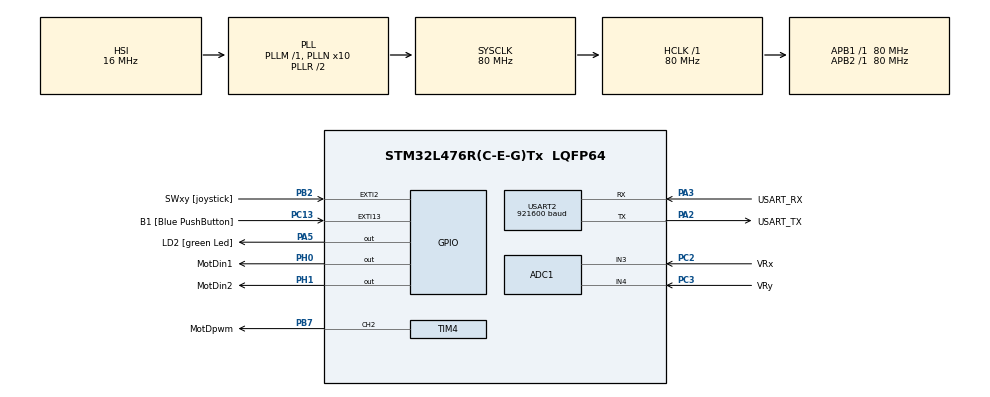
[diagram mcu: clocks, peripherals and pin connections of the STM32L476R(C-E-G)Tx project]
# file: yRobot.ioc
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ADC1.Channel-0\#ChannelRegularConversion=ADC_CHANNEL_3
ADC1.Channel-1\#ChannelRegularConversion=ADC_CHANNEL_4
ADC1.ContinuousConvMode=DISABLE
ADC1.DMAContinuousRequests=ENABLE
ADC1.DiscontinuousConvMode=ENABLE
ADC1.EOCSelection=ADC_EOC_SEQ_CONV
ADC1.EnableAnalogWatchDog1=false
ADC1.EnableInjectedConversion=DISABLE
ADC1.ExternalTrigConv=ADC_EXTERNALTRIG_T1_TRGO
ADC1.NbrOfConversion=2
ADC1.NbrOfConversionFlag=1
ADC1.OffsetNumber-0\#ChannelRegularConversion=ADC_OFFSET_NONE
ADC1.OffsetNumber-1\#ChannelRegularConversion=ADC_OFFSET_NONE
ADC1.Overrun=ADC_OVR_DATA_PRESERVED
ADC1.Rank-0\#ChannelRegularConversion=1
ADC1.Rank-1\#ChannelRegularConversion=2
ADC1.SamplingTime-0\#ChannelRegularConversion=ADC_SAMPLETIME_6CYCLES_5
ADC1.SamplingTime-1\#ChannelRegularConversion=ADC_SAMPLETIME_6CYCLES_5
ADC1.master=1
Dma.ADC1.0.Direction=DMA_PERIPH_TO_MEMORY
Dma.ADC1.0.Instance=DMA1_Channel1
Dma.ADC1.0.MemDataAlignment=DMA_MDATAALIGN_WORD
Dma.ADC1.0.MemInc=DMA_MINC_ENABLE
Dma.ADC1.0.Mode=DMA_CIRCULAR
Dma.ADC1.0.PeriphDataAlignment=DMA_PDATAALIGN_WORD
Dma.ADC1.0.PeriphInc=DMA_PINC_DISABLE
Dma.ADC1.0.Priority=DMA_PRIORITY_MEDIUM
Dma.Request0=ADC1
FREERTOS.BinarySemaphores01=semUART,Dynamic,NULL
FREERTOS.INCLUDE_pcTaskGetTaskName=1
FREERTOS.INCLUDE_vTaskCleanUpResources=1
FREERTOS.INCLUDE_vTaskDelete=1
FREERTOS.INCLUDE_xQueueGetMutexHolder=1
FREERTOS.INCLUDE_xTaskGetCurrentTaskHandle=1
FREERTOS.INCLUDE_xTaskGetHandle=1
FREERTOS.Queues01=qEvents,8,yEvent_t,0,Dynamic,NULL,NULL;qVTaffiche,10,yVTbuff_t,0,Dynamic,NULL,NULL;qMotD,8,yEvent_t,0,Dynamic,NULL,NULL;qTrain,8,yEvent_t,0,Dynamic,NULL,NULL;qMotG,8,yEvent_t,0,Dynamic,NULL,NULL
FREERTOS.Tasks01=defaultTask,24,1024,StartDefaultTask,Default,NULL,Dynamic,NULL,NULL;tk_Init,24,1024,tk_Init_Fnc,Default,NULL,Dynamic,NULL,NULL;tk_CheckVR,24,1024,tk_CheckVR_Fnc,Default,NULL,Dynamic,NULL,NULL;tk_Process,24,1024,tk_Process_Fnc,As external,NULL,Dynamic,NULL,NULL;tk_VTaffiche,24,1024,tk_VTaffiche_Fnc,As external,NULL,Dynamic,NULL,NULL;tk_MoteurD,24,1024,tk_MoteurD_Fnc,As external,NULL,Dynamic,NULL,NULL;tk_Train,24,1024,tk_Train_Fnc,As external,NULL,Dynamic,NULL,NULL;tk_MoteurG,24,1024,tk_MoteurG_Fnc,As external,NULL,Dynamic,NULL,NULL
FREERTOS.Timers01=t1s,t1s_Callback,osTimerPeriodic,As weak,NULL,Dynamic,NULL;t250ms,t250ms_Callback,osTimerPeriodic,As weak,NULL,Dynamic,NULL
FREERTOS.configCHECK_FOR_STACK_OVERFLOW=2
FREERTOS.configENABLE_BACKWARD_COMPATIBILITY=0
FREERTOS.configGENERATE_RUN_TIME_STATS=1
FREERTOS.configRECORD_STACK_HIGH_ADDRESS=1
FREERTOS.configTICK_RATE_HZ=100
FREERTOS.configTOTAL_HEAP_SIZE=50000
FREERTOS.configUSE_APPLICATION_TASK_TAG=1
FREERTOS.configUSE_DAEMON_TASK_STARTUP_HOOK=1
FREERTOS.configUSE_IDLE_HOOK=1
FREERTOS.configUSE_NEWLIB_REENTRANT=1
FREERTOS.configUSE_PREEMPTION=1
FREERTOS.configUSE_STATS_FORMATTING_FUNCTIONS=1
FREERTOS.configUSE_TICKLESS_IDLE=1
Mcu.Family=STM32L4
Mcu.Name=STM32L476R(C-E-G)Tx
Mcu.Package=LQFP64
Mcu.UserConstants=yCubeMX,"6.5";MMxx,"0-0"
NVIC.ADC1_2_IRQn=true\:5\:0\:false\:true\:true\:2\:true\:true\:true\:true
NVIC.DMA1_Channel1_IRQn=true\:5\:0\:false\:true\:true\:3\:true\:false\:true\:true
NVIC.EXTI15_10_IRQn=true\:5\:0\:false\:true\:true\:1\:true\:true\:true\:true
NVIC.EXTI2_IRQn=true\:5\:0\:false\:false\:true\:true\:true\:true\:true
NVIC.PriorityGroup=NVIC_PRIORITYGROUP_4
NVIC.RTC_Alarm_IRQn=true\:5\:0\:false\:true\:true\:4\:true\:true\:true\:true
NVIC.TIM1_TRG_COM_TIM17_IRQn=true\:5\:0\:false\:false\:true\:true\:true\:true\:true
NVIC.TIM6_DAC_IRQn=true\:0\:0\:false\:false\:true\:false\:false\:true\:true
NVIC.TimeBase=TIM6_DAC_IRQn
NVIC.TimeBaseIP=TIM6
NVIC.USART2_IRQn=true\:5\:0\:false\:false\:true\:true\:true\:true\:true
PA13\ (JTMS-SWDIO).GPIO_Label=TMS
PA13\ (JTMS-SWDIO).Mode=Serial_Wire
PA13\ (JTMS-SWDIO).Signal=SYS_JTMS-SWDIO
PA14\ (JTCK-SWCLK).GPIO_Label=TCK
PA14\ (JTCK-SWCLK).Mode=Serial_Wire
PA14\ (JTCK-SWCLK).Signal=SYS_JTCK-SWCLK
PA2.GPIO_Label=USART_TX
PA2.GPIO_Mode=GPIO_MODE_AF_PP
PA2.GPIO_PuPd=GPIO_NOPULL
PA2.GPIO_Speed=GPIO_SPEED_FREQ_VERY_HIGH
PA2.Mode=Asynchronous
PA2.Signal=USART2_TX
PA3.GPIO_Label=USART_RX
PA3.GPIO_Mode=GPIO_MODE_AF_PP
PA3.GPIO_PuPd=GPIO_NOPULL
PA3.GPIO_Speed=GPIO_SPEED_FREQ_VERY_HIGH
PA3.Mode=Asynchronous
PA3.Signal=USART2_RX
PA5.GPIO_Label=LD2 [green Led]
PA5.PinState=GPIO_PIN_RESET
PA5.Signal=GPIO_Output
PB2.GPIO_Label=SWxy [joystick]
PB2.GPIO_ModeDefaultEXTI=GPIO_MODE_IT_FALLING
PB2.GPIO_PuPd=GPIO_PULLUP
PB2.Signal=GPXTI2
PB3\ (JTDO-TRACESWO).GPIO_Label=SWO
PB3\ (JTDO-TRACESWO).Signal=SYS_JTDO-SWO
PB7.GPIO_Label=MotDpwm
PB7.Signal=S_TIM4_CH2
PC13.GPIO_Label=B1 [Blue PushButton]
PC13.GPIO_ModeDefaultEXTI=GPIO_MODE_IT_FALLING
PC13.GPIO_PuPd=GPIO_NOPULL
PC13.Signal=GPXTI13
PC2.GPIO_Label=VRx
PC2.Signal=ADCx_IN3
PC3.GPIO_Label=VRy
PC3.Signal=ADCx_IN4
PH0-OSC_IN\ (PH0).GPIO_Label=MotDin1
PH0-OSC_IN\ (PH0).Signal=GPIO_Output
PH1-OSC_OUT\ (PH1).GPIO_Label=MotDin2
PH1-OSC_OUT\ (PH1).Signal=GPIO_Output
ProjectManager.HeapSize=0x200
ProjectManager.StackSize=0x400
ProjectManager.TargetToolchain=STM32CubeIDE
RCC.ADCFreq_Value=64000000
RCC.AHBFreq_Value=80000000
RCC.APB1Freq_Value=80000000
RCC.APB1TimFreq_Value=80000000
RCC.APB2Freq_Value=80000000
RCC.APB2TimFreq_Value=80000000
RCC.CortexFreq_Value=80000000
RCC.HCLKFreq_Value=80000000
RCC.HSE_VALUE=8000000
RCC.HSI_VALUE=16000000
RCC.LSE_VALUE=32768
RCC.MSI_VALUE=4000000
RCC.PLLN=10
RCC.PLLSourceVirtual=RCC_PLLSOURCE_HSI
RCC.PREFETCH_ENABLE=1
RCC.SYSCLKFreq_VALUE=80000000
RCC.SYSCLKSource=RCC_SYSCLKSOURCE_PLLCLK
RCC.USBFreq_Value=64000000
RCC.VCOOutputFreq_Value=160000000
RTC.Alarm-Alarm\ A=RTC_ALARM_A
RTC.AlarmDateWeekDaySel-Alarm\ A=RTC_ALARMDATEWEEKDAYSEL_DATE
RTC.AlarmMaskDateWeekDay-Alarm\ A=RTC_ALARMMASK_DATEWEEKDAY
RTC.AlarmMaskHours-Alarm\ A=RTC_ALARMMASK_HOURS
RTC.AlarmMaskMinutes-Alarm\ A=RTC_ALARMMASK_MINUTES
RTC.Hours=12
RTC.Hours_A-Alarm\ A=12
RTC.Minutes_A-Alarm\ A=12
RTC.Month=RTC_MONTH_AUGUST
RTC.Seconds=0
RTC.Seconds_A-Alarm\ A=1
RTC.StoreOperation=RTC_STOREOPERATION_SET
RTC.WeekDay=RTC_WEEKDAY_SATURDAY
RTC.Year=20
SH.ADCx_IN3.0=ADC1_IN3,IN3-Single-Ended
SH.ADCx_IN4.0=ADC1_IN4,IN4-Single-Ended
SH.S_TIM4_CH2.0=TIM4_CH2,PWM Generation2 CH2
TIM1.AutoReloadPreload=TIM_AUTORELOAD_PRELOAD_ENABLE
TIM1.Period=1000-1
TIM1.Prescaler=20000-1
TIM1.RepetitionCounter=0
TIM1.TIM_MasterOutputTrigger=TIM_TRGO_UPDATE
TIM1.TIM_MasterOutputTrigger2=TIM_TRGO2_RESET
TIM4.Channel-PWM\ Generation2\ CH2=TIM_CHANNEL_2
TIM4.Period=100-1
TIM4.Prescaler=8000-1
TIM4.Pulse-PWM\ Generation2\ CH2=5
USART2.BaudRate=921600
USART2.VirtualMode-Asynchronous=VM_ASYNC
VP_FREERTOS_VS_CMSIS_V2.Mode=CMSIS_V2
VP_RTC_VS_RTC_Activate.Mode=RTC_Enabled
VP_RTC_VS_RTC_Alarm_A_Intern.Mode=Alarm A
VP_RTC_VS_RTC_Calendar.Mode=RTC_Calendar
VP_SYS_VS_tim6.Mode=TIM6
VP_TIM1_VS_ClockSourceINT.Mode=Internal
board=NUCLEO-L476RG

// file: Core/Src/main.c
/* USER CODE BEGIN Header */
/**
  ******************************************************************************
  * @file   main.c
  * @brief  Main program body
  * @version 2.0
  ******************************************************************************
  * Modified :
  * Created  : 15-aout-2020
  ******************************************************************************
  * @note
  ******************************************************************************
  * @attention
  *
  * <h2><center>&copy; Copyright (c) 2020 STMicroelectronics.
  * All rights reserved.</center></h2>
  *
  * This software component is licensed by ST under BSD 3-Clause license,
  * the "License"; You may not use this file except in compliance with the
  * License. You may obtain a copy of the License at:
  *                        opensource.org/licenses/BSD-3-Clause
  *
  ******************************************************************************
  */
/* !! main genere by STM32Cube */
//#ifdef __cplusplus
//extern "C" {
//#endif

/* USER CODE END Header */
#include "main.h"
#include "cmsis_os.h"
#include "adc.h"
#include "dma.h"
#include "rtc.h"
#include "tim.h"
#include "usart.h"
#include "gpio.h"

/* USER CODE BEGIN Includes */
//Quelle est la cible?
#define __STR2__(x) #x
#define __STR1__(x) __STR2__(x)
#if defined(STM32F401RE)
#pragma message("Compiling for NUCLEAO_F401RE")		//with '-fno-diagnostics-show-caret'
//Grove_LCD_RGB_Backlight rgbLCD(P0_27, P0_28);     //I2C0 SDA & SCL (I2C @ in ....LCD_RBG...h)
//----- end F401RE -----
#elif defined(STM32L476xx)
#pragma message("***************************")
#pragma message("Compiling for NUCLEO_L476RG")		//with '-fno-diagnostics-show-caret'
#pragma message("le " __STR1__(__DATE__)" "__STR1__(__TIME__))
#pragma message("---------------------------")
#pragma message("program " __STR1__(yPROG))
#pragma message("version " __STR1__(yVER))
#pragma message("CubeMX  " __STR1__(yCubeMX))
#pragma message("***************************\n")
//Grove_LCD_RGB_Backlight rgbLCD(PB_9, PB_8);     	//I2C1 SDA & SCL (I2C @ in ....LCD_RBG...h)
//----- end L476RG ------
#else
#warning "Unknown TARGET"
#endif

#define NR_VAR_GLO_
#include "CubeMon.h"

/* USER CODE END Includes */

void SystemClock_Config(void);
void MX_FREERTOS_Init(void);
static void MX_NVIC_Init(void);

int main(void)
{
  /* USER CODE BEGIN 1 */
//	ymx_VRx_trim = 2.0;
//	ymx_VRy_trim = 2.0;
//	ymx_Coef = 0.9;

  /* USER CODE END 1 */

  /* MCU Configuration--------------------------------------------------------*/

  /* Reset of all peripherals, Initializes the Flash interface and the Systick. */
  HAL_Init();

  /* Configure the system clock */
  SystemClock_Config();

  /* Initialize all configured peripherals */
  MX_GPIO_Init();
  MX_DMA_Init();
  MX_USART2_UART_Init();
  MX_ADC1_Init();
  MX_RTC_Init();
  MX_TIM1_Init();
  MX_TIM4_Init();

  /* Initialize interrupts */
  MX_NVIC_Init();
  /* USER CODE BEGIN 2 */
  //first calibrate the converter!
  if ( HAL_ADCEx_Calibration_Start(&hadc1, ADC_SINGLE_ENDED)  != HAL_OK)
   {
	 Error_Handler();
   };

  /* USER CODE END 2 */

  /* Init scheduler */
  osKernelInitialize();  /* Call init function for freertos objects (in freertos.c) */
  MX_FREERTOS_Init();

  /* Start scheduler */
  osKernelStart();

  /* We should never get here as control is now taken by the scheduler */
  /* Infinite loop */
  while (1)
  {

  }
}

void SystemClock_Config(void)
{
  RCC_OscInitTypeDef RCC_OscInitStruct = {0};
  RCC_ClkInitTypeDef RCC_ClkInitStruct = {0};

  /** Configure the main internal regulator output voltage
  */
  if (HAL_PWREx_ControlVoltageScaling(PWR_REGULATOR_VOLTAGE_SCALE1) != HAL_OK)
  {
    Error_Handler();
  }

  /** Initializes the RCC Oscillators according to the specified parameters
  * in the RCC_OscInitTypeDef structure.
  */
  RCC_OscInitStruct.OscillatorType = RCC_OSCILLATORTYPE_HSI|RCC_OSCILLATORTYPE_LSI;
  RCC_OscInitStruct.HSIState = RCC_HSI_ON;
  RCC_OscInitStruct.HSICalibrationValue = RCC_HSICALIBRATION_DEFAULT;
  RCC_OscInitStruct.LSIState = RCC_LSI_ON;
  RCC_OscInitStruct.PLL.PLLState = RCC_PLL_ON;
  RCC_OscInitStruct.PLL.PLLSource = RCC_PLLSOURCE_HSI;
  RCC_OscInitStruct.PLL.PLLM = 1;
  RCC_OscInitStruct.PLL.PLLN = 10;
  RCC_OscInitStruct.PLL.PLLP = RCC_PLLP_DIV7;
  RCC_OscInitStruct.PLL.PLLQ = RCC_PLLQ_DIV2;
  RCC_OscInitStruct.PLL.PLLR = RCC_PLLR_DIV2;
  if (HAL_RCC_OscConfig(&RCC_OscInitStruct) != HAL_OK)
  {
    Error_Handler();
  }

  /** Initializes the CPU, AHB and APB buses clocks
  */
  RCC_ClkInitStruct.ClockType = RCC_CLOCKTYPE_HCLK|RCC_CLOCKTYPE_SYSCLK
                              |RCC_CLOCKTYPE_PCLK1|RCC_CLOCKTYPE_PCLK2;
  RCC_ClkInitStruct.SYSCLKSource = RCC_SYSCLKSOURCE_PLLCLK;
  RCC_ClkInitStruct.AHBCLKDivider = RCC_SYSCLK_DIV1;
  RCC_ClkInitStruct.APB1CLKDivider = RCC_HCLK_DIV1;
  RCC_ClkInitStruct.APB2CLKDivider = RCC_HCLK_DIV1;

  if (HAL_RCC_ClockConfig(&RCC_ClkInitStruct, FLASH_LATENCY_4) != HAL_OK)
  {
    Error_Handler();
  }
}

/**
  * @brief NVIC Configuration.
  * @retval None
  */
static void MX_NVIC_Init(void)
{
  /* EXTI15_10_IRQn interrupt configuration */
  HAL_NVIC_SetPriority(EXTI15_10_IRQn, 5, 0);
  HAL_NVIC_EnableIRQ(EXTI15_10_IRQn);
  /* ADC1_2_IRQn interrupt configuration */
  HAL_NVIC_SetPriority(ADC1_2_IRQn, 5, 0);
  HAL_NVIC_EnableIRQ(ADC1_2_IRQn);
  /* DMA1_Channel1_IRQn interrupt configuration */
  HAL_NVIC_SetPriority(DMA1_Channel1_IRQn, 5, 0);
  HAL_NVIC_EnableIRQ(DMA1_Channel1_IRQn);
  /* RTC_Alarm_IRQn interrupt configuration */
  HAL_NVIC_SetPriority(RTC_Alarm_IRQn, 5, 0);
  HAL_NVIC_EnableIRQ(RTC_Alarm_IRQn);
}

void HAL_TIM_PeriodElapsedCallback(TIM_HandleTypeDef *htim)
{
  /* USER CODE BEGIN Callback 0 */
	/** TIM6 - used by RTOS tick */
  /* USER CODE END Callback 0 */
  if (htim->Instance == TIM6) {
    HAL_IncTick();
  }
}

void Error_Handler(void)
{
}

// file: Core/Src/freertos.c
/* USER CODE BEGIN Header */
/**
 ******************************************************************************
 * File Name          : freertos.c
 * Description        : Code for freertos applications
 ******************************************************************************
 * @attention
 *
 * <h2><center>&copy; Copyright (c) 2020 STMicroelectronics.
 * All rights reserved.</center></h2>
 *
 * This software component is licensed by ST under Ultimate Liberty license
 * SLA0044, the "License"; You may not use this file except in compliance with
 * the License. You may obtain a copy of the License at:
 *                             www.st.com/SLA0044
 *
 ******************************************************************************
 */
/* USER CODE END Header */

#include "FreeRTOS.h"
#include "task.h"
#include "main.h"
#include "cmsis_os.h"

/* USER CODE BEGIN Includes */
#include <stdio.h>
#include <string.h>
#include <math.h>
#include "rtc.h"
#include "yTask.h"
#include "VT100.h"
#include "yMENU.h"
#include "yANALOG.h"
#include "yMOTOR.h"
#include "yTRAIN.h"

#define NR_VAR_GLO_
#include "CubeMon.h"

/* USER CODE END Includes */

/* USER CODE BEGIN Variables */
//----- pour usart2, gestion interface sur console VT
char aTxBuffer[2048] = {};		//buffer d'emission
uint16_t uart2NbCar = 1;		//nb de byte attendu
uint8_t aRxBuffer[3] __attribute__((section(".myvars")));		//buffer de reception at specific address
char tmpBuffer[10];		    	//buffer temporaire pour switch/case
//----- buffer DMA / ADC1
uint32_t adcbuf[2];

uint8_t TkToStart = TkNone;		//pour scheduler le dИmarrage des taches
uint16_t WaitInTk;

extern UART_HandleTypeDef huart2;
extern ADC_HandleTypeDef hadc1;
extern DMA_HandleTypeDef hdma_adc1;
extern TIM_HandleTypeDef htim1;
extern TIM_HandleTypeDef htim4;

yMENU_t mnuSTM;		// pour Menu VT100
yANALOG VRx, VRy;	// pour Joystick

////-- global data to view by STM32CubeMonitor
////** @todo v34a DBG a supprimer */
//yMOTOR Moteur_D;
//yMOTOR Moteur_G;
//yTRAIN TrainDG;

/* objet d'echange d'affichage via la queue */
yVTbuff_t VTbuffer = { .src = SrcNone, .VTbuff = "...\0" };

/* objet d'echange d'event via les queues */
yEvent_t yEvent = {.Topic = TopicNone, .PayLoadF = 0.0, .PayloadI = 0};

/* USER CODE END Variables */
/* Definitions for defaultTask */
osThreadId_t defaultTaskHandle;
const osThreadAttr_t defaultTask_attributes = {
  .name = "defaultTask",
  .stack_size = 1024 * 4,
  .priority = (osPriority_t) osPriorityNormal,
};
/* Definitions for tk_Init */
osThreadId_t tk_InitHandle;
const osThreadAttr_t tk_Init_attributes = {
  .name = "tk_Init",
  .stack_size = 1024 * 4,
  .priority = (osPriority_t) osPriorityNormal,
};
/* Definitions for tk_CheckVR */
osThreadId_t tk_CheckVRHandle;
const osThreadAttr_t tk_CheckVR_attributes = {
  .name = "tk_CheckVR",
  .stack_size = 1024 * 4,
  .priority = (osPriority_t) osPriorityNormal,
};
/* Definitions for tk_Process */
osThreadId_t tk_ProcessHandle;
const osThreadAttr_t tk_Process_attributes = {
  .name = "tk_Process",
  .stack_size = 1024 * 4,
  .priority = (osPriority_t) osPriorityNormal,
};
/* Definitions for tk_VTaffiche */
osThreadId_t tk_VTafficheHandle;
const osThreadAttr_t tk_VTaffiche_attributes = {
  .name = "tk_VTaffiche",
  .stack_size = 1024 * 4,
  .priority = (osPriority_t) osPriorityNormal,
};
/* Definitions for tk_MoteurD */
osThreadId_t tk_MoteurDHandle;
const osThreadAttr_t tk_MoteurD_attributes = {
  .name = "tk_MoteurD",
  .stack_size = 1024 * 4,
  .priority = (osPriority_t) osPriorityNormal,
};
/* Definitions for tk_Train */
osThreadId_t tk_TrainHandle;
const osThreadAttr_t tk_Train_attributes = {
  .name = "tk_Train",
  .stack_size = 1024 * 4,
  .priority = (osPriority_t) osPriorityNormal,
};
/* Definitions for tk_MoteurG */
osThreadId_t tk_MoteurGHandle;
const osThreadAttr_t tk_MoteurG_attributes = {
  .name = "tk_MoteurG",
  .stack_size = 1024 * 4,
  .priority = (osPriority_t) osPriorityNormal,
};
/* Definitions for qEvents */
osMessageQueueId_t qEventsHandle;
const osMessageQueueAttr_t qEvents_attributes = {
  .name = "qEvents"
};
/* Definitions for qVTaffiche */
osMessageQueueId_t qVTafficheHandle;
const osMessageQueueAttr_t qVTaffiche_attributes = {
  .name = "qVTaffiche"
};
/* Definitions for qMotD */
osMessageQueueId_t qMotDHandle;
const osMessageQueueAttr_t qMotD_attributes = {
  .name = "qMotD"
};
/* Definitions for qTrain */
osMessageQueueId_t qTrainHandle;
const osMessageQueueAttr_t qTrain_attributes = {
  .name = "qTrain"
};
/* Definitions for qMotG */
osMessageQueueId_t qMotGHandle;
const osMessageQueueAttr_t qMotG_attributes = {
  .name = "qMotG"
};
/* Definitions for t1s */
osTimerId_t t1sHandle;
const osTimerAttr_t t1s_attributes = {
  .name = "t1s"
};
/* Definitions for t250ms */
osTimerId_t t250msHandle;
const osTimerAttr_t t250ms_attributes = {
  .name = "t250ms"
};
/* Definitions for semUART */
osSemaphoreId_t semUARTHandle;
const osSemaphoreAttr_t semUART_attributes = {
  .name = "semUART"
};

/* USER CODE BEGIN FunctionPrototypes */
extern void Interrputs_Init(void);

/* USER CODE END FunctionPrototypes */

void StartDefaultTask(void *argument);
void tk_Init_Fnc(void *argument);
void tk_CheckVR_Fnc(void *argument);
extern void tk_Process_Fnc(void *argument);
extern void tk_VTaffiche_Fnc(void *argument);
extern void tk_MoteurD_Fnc(void *argument);
extern void tk_Train_Fnc(void *argument);
extern void tk_MoteurG_Fnc(void *argument);
void t1s_Callback(void *argument);
void t250ms_Callback(void *argument);

void MX_FREERTOS_Init(void); /* (MISRA C 2004 rule 8.1) */

/* Hook prototypes */
void configureTimerForRunTimeStats(void);
unsigned long getRunTimeCounterValue(void);
void vApplicationIdleHook(void);
void vApplicationStackOverflowHook(TaskHandle_t xTask, signed char *pcTaskName);
void vApplicationDaemonTaskStartupHook(void);

/* USER CODE BEGIN 1 */
/* Functions needed when configGENERATE_RUN_TIME_STATS is on */
__weak void configureTimerForRunTimeStats(void)
{

}

__weak unsigned long getRunTimeCounterValue(void)
{
	return 0;
}
/* USER CODE END 1 */

/* USER CODE BEGIN 2 */
__weak void vApplicationIdleHook( void )
{
	/* vApplicationIdleHook() will only be called if configUSE_IDLE_HOOK is set
   to 1 in FreeRTOSConfig.h. It will be called on each iteration of the idle
   task. It is essential that code added to this hook function never attempts
   to block in any way (for example, call xQueueReceive() with a block time
   specified, or call vTaskDelay()). If the application makes use of the
   vTaskDelete() API function (as this demo application does) then it is also
   important that vApplicationIdleHook() is permitted to return to its calling
   function, because it is the responsibility of the idle task to clean up
   memory allocated by the kernel to any task that has since been deleted. */
}
/* USER CODE END 2 */

/* USER CODE BEGIN 4 */
__weak void vApplicationStackOverflowHook(TaskHandle_t xTask, signed char *pcTaskName)
{
	/* Run time stack overflow checking is performed if
   configCHECK_FOR_STACK_OVERFLOW is defined to 1 or 2. This hook function is
   called if a stack overflow is detected. */
}
/* USER CODE END 4 */

/* USER CODE BEGIN DAEMON_TASK_STARTUP_HOOK */
void vApplicationDaemonTaskStartupHook(void)
{
}
/* USER CODE END DAEMON_TASK_STARTUP_HOOK */

/* USER CODE BEGIN PREPOSTSLEEP */
//__weak void PreSleepProcessing(uint32_t *ulExpectedIdleTime)
//{
//	/* place for user code */
//}

//__weak void PostSleepProcessing(uint32_t *ulExpectedIdleTime)
//{
//	/* place for user code */
//}
/* USER CODE END PREPOSTSLEEP */

void MX_FREERTOS_Init(void) {

  /* Create the semaphores(s) */
  /* creation of semUART */
  semUARTHandle = osSemaphoreNew(1, 1, &semUART_attributes);

  /* Create the timer(s) */
  /* creation of t1s */
  t1sHandle = osTimerNew(t1s_Callback, osTimerPeriodic, NULL, &t1s_attributes);

  /* creation of t250ms */
  t250msHandle = osTimerNew(t250ms_Callback, osTimerPeriodic, NULL, &t250ms_attributes);

  /* Create the queue(s) */
  /* creation of qEvents */
  qEventsHandle = osMessageQueueNew (8, sizeof(yEvent_t), &qEvents_attributes);

  /* creation of qVTaffiche */
  qVTafficheHandle = osMessageQueueNew (10, sizeof(yVTbuff_t), &qVTaffiche_attributes);

  /* creation of qMotD */
  qMotDHandle = osMessageQueueNew (8, sizeof(yEvent_t), &qMotD_attributes);

  /* creation of qTrain */
  qTrainHandle = osMessageQueueNew (8, sizeof(yEvent_t), &qTrain_attributes);

  /* creation of qMotG */
  qMotGHandle = osMessageQueueNew (8, sizeof(yEvent_t), &qMotG_attributes);

  /* Create the thread(s) */
  /* creation of defaultTask */
  defaultTaskHandle = osThreadNew(StartDefaultTask, NULL, &defaultTask_attributes);

  /* creation of tk_Init */
  tk_InitHandle = osThreadNew(tk_Init_Fnc, NULL, &tk_Init_attributes);

  /* creation of tk_CheckVR */
  tk_CheckVRHandle = osThreadNew(tk_CheckVR_Fnc, NULL, &tk_CheckVR_attributes);

  /* creation of tk_Process */
  tk_ProcessHandle = osThreadNew(tk_Process_Fnc, NULL, &tk_Process_attributes);

  /* creation of tk_VTaffiche */
  tk_VTafficheHandle = osThreadNew(tk_VTaffiche_Fnc, NULL, &tk_VTaffiche_attributes);

  /* creation of tk_MoteurD */
  tk_MoteurDHandle = osThreadNew(tk_MoteurD_Fnc, NULL, &tk_MoteurD_attributes);

  /* creation of tk_Train */
  tk_TrainHandle = osThreadNew(tk_Train_Fnc, NULL, &tk_Train_attributes);

  /* creation of tk_MoteurG */
  tk_MoteurGHandle = osThreadNew(tk_MoteurG_Fnc, NULL, &tk_MoteurG_attributes);

  /* USER CODE BEGIN RTOS_THREADS */
	/* add threads, ... */

	osDelay(pdMS_TO_TICKS(WaitInTk));
	snprintf(aTxBuffer, 1024, clrscr homescr "\n FreeRTOS initialised" DECSC);
	osSemaphoreAcquire(semUARTHandle, portMAX_DELAY);  //timeout 0 if from ISR, else portmax
	HAL_UART_Transmit(&huart2,(uint8_t *) aTxBuffer, strlen(aTxBuffer), 5000);
	osSemaphoreRelease(semUARTHandle);

	WaitInTk = Wait10ms;
	osDelay(pdMS_TO_TICKS(WaitInTk));
	TkToStart = TkInit;
  /* USER CODE END RTOS_THREADS */

}

/* USER CODE BEGIN Header_StartDefaultTask */
/**
 * @brief  Function implementing the defaultTask thread.
 * @param  argument: Not used
 * @retval None
 */
//yDOC: task 2 default
/* USER CODE END Header_StartDefaultTask */
void StartDefaultTask(void *argument)
{
  /* USER CODE BEGIN StartDefaultTask */
	//-- Is it to me to start?
	while (TkToStart != TkDefault) {
		osDelay(pdMS_TO_TICKS(WaitInTk));
	}
	snprintf(aTxBuffer, 50, DECRC "\n tk_Default\t initialised" DECSC);
	osSemaphoreAcquire(semUARTHandle, portMAX_DELAY);  //timeout 0 if from ISR, else portmax
	HAL_UART_Transmit(&huart2,(uint8_t *) aTxBuffer, strlen(aTxBuffer), 5000);
	osSemaphoreRelease(semUARTHandle);

    /* Start PWM signals generation TIM4 channel 2 */
	/** @todo to move to tk moteur */
    if (HAL_TIM_PWM_Start(&htim4, TIM_CHANNEL_2) != HAL_OK)
    {
    	Error_Handler();	//PWM Generation Error
    }
    htim4.Instance->CCR2 = 10;

	TkToStart++;
	osDelay(pdMS_TO_TICKS(WaitInTk));
	//osThreadTerminate(defaultTaskHandle);
	/* Infinite loop */
	for(;;)
	{
		osDelay(pdMS_TO_TICKS(241));

		//--- Clear Status Bar & traces
		if (RTC_AlarmA_flag == 1) {
			mnuSTM.ClearStatusBar(&mnuSTM);	//CLS Bar
			snprintf(VTbuffer.VTbuff, 200, "%s", mnuSTM.Buffer);
			osMessageQueuePut(qVTafficheHandle, &VTbuffer, 0U, portMAX_DELAY);	//envoi vers task afficahge
			RTC_AlarmModify();	//relancer alarme ds qq sec
		}

		//--- get/set data for STM32CubeMonitor
		yCopy2CubeMonitor(1U);		//set data
		yCopy2CubeMonitor(0U);		//get data

	}
  /* USER CODE END StartDefaultTask */
}

/* USER CODE BEGIN Header_tk_Init_Fnc */
/**
 * @brief Function implementing the tk_Init thread.
 * @param argument: Not used
 * @retval None
 */
//yDOC task 1 Init
/* USER CODE END Header_tk_Init_Fnc */
void tk_Init_Fnc(void *argument)
{
  /* USER CODE BEGIN tk_Init_Fnc */
	//-- Is it to me to start?
	while (TkToStart != TkInit) {
		snprintf(aTxBuffer, 50, DECRC "\n tk_Init\t waiting %d" DECSC, TkToStart);
		osSemaphoreAcquire(semUARTHandle, portMAX_DELAY);  //timeout 0 if from ISR, else portmax
		HAL_UART_Transmit(&huart2,(uint8_t *) aTxBuffer, strlen(aTxBuffer), 5000);
		osSemaphoreRelease(semUARTHandle);
		osDelay(pdMS_TO_TICKS(WaitInTk));
	}	//wait here!

	snprintf(aTxBuffer, 50, DECRC "\n tk_Init\t initialised" DECSC);
	osSemaphoreAcquire(semUARTHandle, portMAX_DELAY);  //timeout 0 if from ISR, else portmax
	HAL_UART_Transmit(&huart2,(uint8_t *) aTxBuffer, strlen(aTxBuffer), 5000);
	osSemaphoreRelease(semUARTHandle);

	TkToStart++;
	osDelay(pdMS_TO_TICKS(WaitInTk));

	while (TkToStart != TkAll) {		//wait here!
		osDelay(pdMS_TO_TICKS(WaitInTk));
	}
	/** @TODO v3.6 pb with snprintf */
	snprintf(aTxBuffer, 1023, DECRC "\n tk_Init\t All task initialised %d\n" yPROG " " yVER " " yCubeMX "\n\n" DECSC, TkToStart);

	osSemaphoreAcquire(semUARTHandle, portMAX_DELAY);  //timeout 0 if from ISR, else portmax
	HAL_UART_Transmit(&huart2,(uint8_t *) aTxBuffer, strlen(aTxBuffer), 5000);
	osSemaphoreRelease(semUARTHandle);

	//osDelay(pdMS_TO_TICKS(WaitInTk));

	/* Initialize menu structure & Message de Bienvenue*/
	mnuSTM.Init =Init_fnc;	//assigne function
	mnuSTM.Init(&mnuSTM);	//initialize structure
	osSemaphoreAcquire(semUARTHandle, portMAX_DELAY);  //timeout 0 if from ISR, else portmax
	HAL_UART_Transmit(&huart2,(uint8_t *) mnuSTM.Buffer, strlen(mnuSTM.Buffer), 5000);
	osSemaphoreRelease(semUARTHandle);
	mnuSTM.Infos(&mnuSTM);
	osSemaphoreAcquire(semUARTHandle, portMAX_DELAY);  //timeout 0 if from ISR, else portmax
	HAL_UART_Transmit(&huart2,(uint8_t *) mnuSTM.Buffer, strlen(mnuSTM.Buffer), 5000);
	osSemaphoreRelease(semUARTHandle);
	mnuSTM.Display(&mnuSTM);
	osSemaphoreAcquire(semUARTHandle, portMAX_DELAY);  //timeout 0 if from ISR, else portmax
	HAL_UART_Transmit(&huart2,(uint8_t *) mnuSTM.Buffer, strlen(mnuSTM.Buffer), 5000);
	osSemaphoreRelease(semUARTHandle);

	//--- Mise a heure RTC
	RTC_MiseAheure();

	//--- initialize Joystick (direction & vitesse pour moteurs)
	yANALOG_Init(&VRx);
	yANALOG_SetTrimRaw(&VRx, 148);
	yANALOG_Init(&VRy);
	yANALOG_SetTrimRaw(&VRy, 101);

	//--- Train & Moteurs managed by their own tasks

	//--- initialize interrupts
	Interrputs_Init();

	osDelay(WaitInTk);
	/* Infinite loop */
	for(;;)
	{
		osDelay(pdMS_TO_TICKS(503));

		/* Suspend me */
		//osThreadSuspend(tk_InitHandle);
		//osThreadTerminate(tk_InitHandle);
	}
  /* USER CODE END tk_Init_Fnc */
}

/* USER CODE BEGIN Header_tk_CheckVR_Fnc */
/**
 * @brief Function implementing the tk_CheckVR thread.
 * @param argument: Not used
 * @retval None
 */
//yDOC task 7 check VR
/* USER CODE END Header_tk_CheckVR_Fnc */
void tk_CheckVR_Fnc(void *argument)
{
  /* USER CODE BEGIN tk_CheckVR_Fnc */
	static uint8_t i = 0, j = 0;

	//-- Is it to me to start?
	while (TkToStart != TkCheckVR) {
		osDelay(pdMS_TO_TICKS(WaitInTk));
	}

	snprintf(aTxBuffer, 50, DECRC "\n tk_CheckVR\t initialised" DECSC);
	osSemaphoreAcquire(semUARTHandle, portMAX_DELAY);  //timeout 0 if from ISR, else portmax
	HAL_UART_Transmit(&huart2,(uint8_t *) aTxBuffer, strlen(aTxBuffer), 5000);
	osSemaphoreRelease(semUARTHandle);

	TkToStart++;

	//-- attendre les autres taches
	while (TkToStart != TkAll) {		//wait here!
		osDelay(pdMS_TO_TICKS(WaitInTk));
	}
	/* Infinite loop */
	for(;;)
	{
		osDelay(pdMS_TO_TICKS(251));
		//--- VRx (direction)
		yANALOG_CalulerPV(&VRx);
		if (yANALOG_Variation(&VRx) != 0U) {
			snprintf(VTbuffer.VTbuff, 50, CUP(13,50) "--VRx  : %d", i++);
			osMessageQueuePut(qVTafficheHandle, &VTbuffer, 0U, portMAX_DELAY);	//envoi vers task afficahge

			yEvent_t yEvent = {.Topic = VRX, .PayLoadF = VRx.PV, .PayloadI = 0};
			osMessageQueuePut(qEventsHandle, &yEvent, 0U, portMAX_DELAY);
		}

		//--- VRy (vitesse)
		yANALOG_CalulerPV(&VRy);
		if (yANALOG_Variation(&VRy) != 0U) {
			snprintf(VTbuffer.VTbuff, 50, CUP(14,50) "--VRy  : %d", j++);
			osMessageQueuePut(qVTafficheHandle, &VTbuffer, 0U, portMAX_DELAY); //envoi vers task afficahge

			yEvent_t yEvent = {.Topic = VRY, .PayLoadF = VRy.PV, .PayloadI = 0};
			osMessageQueuePut(qEventsHandle, &yEvent, 0U, portMAX_DELAY);
		}

		snprintf(VTbuffer.VTbuff, 50, CUP(12,50) "--VR   : (%d) %6.2f \t (%d) %6.2f", VRx.sens, VRx.PVa, VRy.sens, VRy.PVa);	// 'IMPRECISERR' corrigИ par modif syscall.c & .ld (v1.3)
		osMessageQueuePut(qVTafficheHandle, &VTbuffer, 0U, portMAX_DELAY);	//envoi vers task afficahge

	}
  /* USER CODE END tk_CheckVR_Fnc */
}

/* t1s_Callback function */
__weak void t1s_Callback(void *argument)
{
}

/* t250ms_Callback function */
__weak void t250ms_Callback(void *argument)
{
}
